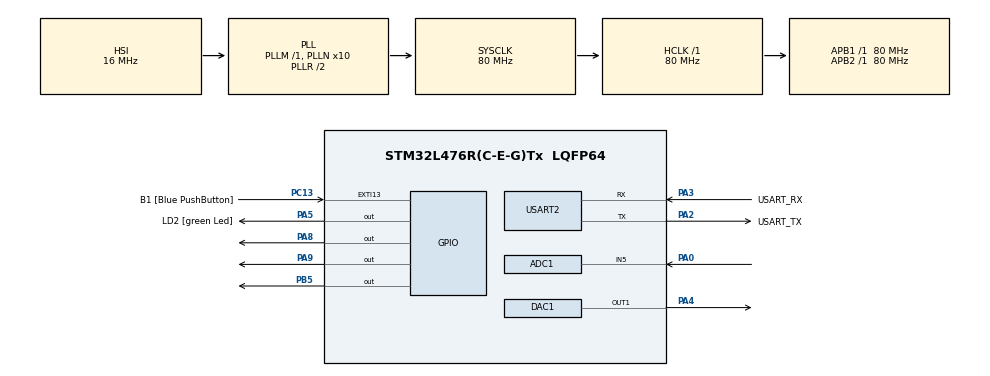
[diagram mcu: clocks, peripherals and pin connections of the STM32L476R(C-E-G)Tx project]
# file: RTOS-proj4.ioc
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ADC1.Channel-0\#ChannelRegularConversion=ADC_CHANNEL_5
ADC1.NbrOfConversionFlag=1
ADC1.OffsetNumber-0\#ChannelRegularConversion=ADC_OFFSET_NONE
ADC1.Rank-0\#ChannelRegularConversion=1
ADC1.SamplingTime-0\#ChannelRegularConversion=ADC_SAMPLETIME_2CYCLES_5
ADC1.master=1
DAC1.DAC_Trigger-DAC_OUT1=DAC_TRIGGER_T6_TRGO
Dma.ADC1.0.Direction=DMA_PERIPH_TO_MEMORY
Dma.ADC1.0.Instance=DMA1_Channel1
Dma.ADC1.0.MemDataAlignment=DMA_MDATAALIGN_HALFWORD
Dma.ADC1.0.MemInc=DMA_MINC_ENABLE
Dma.ADC1.0.Mode=DMA_CIRCULAR
Dma.ADC1.0.PeriphDataAlignment=DMA_PDATAALIGN_HALFWORD
Dma.ADC1.0.PeriphInc=DMA_PINC_DISABLE
Dma.ADC1.0.Priority=DMA_PRIORITY_LOW
Dma.DAC_CH1.1.Direction=DMA_MEMORY_TO_PERIPH
Dma.DAC_CH1.1.Instance=DMA1_Channel3
Dma.DAC_CH1.1.MemDataAlignment=DMA_MDATAALIGN_HALFWORD
Dma.DAC_CH1.1.MemInc=DMA_MINC_ENABLE
Dma.DAC_CH1.1.Mode=DMA_CIRCULAR
Dma.DAC_CH1.1.PeriphDataAlignment=DMA_PDATAALIGN_HALFWORD
Dma.DAC_CH1.1.PeriphInc=DMA_PINC_DISABLE
Dma.DAC_CH1.1.Priority=DMA_PRIORITY_LOW
Dma.Request0=ADC1
Dma.Request1=DAC_CH1
FREERTOS.Tasks01=defaultTask,24,128,StartDefaultTask,Default,NULL,Dynamic,NULL,NULL;CLI,8,1024,CLI_task,As weak,NULL,Dynamic,NULL,NULL
FREERTOS.configTOTAL_HEAP_SIZE=24000
Mcu.Family=STM32L4
Mcu.Name=STM32L476R(C-E-G)Tx
Mcu.Package=LQFP64
NVIC.ADC1_2_IRQn=true\:5\:0\:false\:false\:true\:true\:true\:true\:true
NVIC.DMA1_Channel1_IRQn=true\:5\:0\:false\:false\:true\:true\:false\:true\:true
NVIC.DMA1_Channel3_IRQn=true\:5\:0\:false\:false\:true\:true\:false\:true\:true
NVIC.PriorityGroup=NVIC_PRIORITYGROUP_4
NVIC.TIM1_BRK_TIM15_IRQn=true\:5\:0\:false\:false\:true\:true\:true\:true\:true
NVIC.USART2_IRQn=true\:5\:0\:false\:false\:true\:true\:true\:true\:true
PA0.Signal=ADCx_IN5
PA13\ (JTMS-SWDIO).GPIO_Label=TMS
PA13\ (JTMS-SWDIO).Mode=Serial_Wire
PA13\ (JTMS-SWDIO).Signal=SYS_JTMS-SWDIO
PA14\ (JTCK-SWCLK).GPIO_Label=TCK
PA14\ (JTCK-SWCLK).Mode=Serial_Wire
PA14\ (JTCK-SWCLK).Signal=SYS_JTCK-SWCLK
PA2.GPIO_Label=USART_TX
PA2.GPIO_Mode=GPIO_MODE_AF_PP
PA2.GPIO_PuPd=GPIO_NOPULL
PA2.GPIO_Speed=GPIO_SPEED_FREQ_VERY_HIGH
PA2.Mode=Asynchronous
PA2.Signal=USART2_TX
PA3.GPIO_Label=USART_RX
PA3.GPIO_Mode=GPIO_MODE_AF_PP
PA3.GPIO_PuPd=GPIO_NOPULL
PA3.GPIO_Speed=GPIO_SPEED_FREQ_VERY_HIGH
PA3.Mode=Asynchronous
PA3.Signal=USART2_RX
PA4.Signal=SharedAnalog_PA4
PA5.GPIO_Label=LD2 [green Led]
PA5.GPIO_ModeDefaultOutputPP=GPIO_MODE_OUTPUT_PP
PA5.GPIO_PuPd=GPIO_NOPULL
PA5.GPIO_Speed=GPIO_SPEED_FREQ_LOW
PA5.Signal=GPIO_Output
PA8.Signal=GPIO_Output
PA9.Signal=GPIO_Output
PB3\ (JTDO-TRACESWO).GPIO_Label=SWO
PB3\ (JTDO-TRACESWO).Signal=SYS_JTDO-SWO
PB5.Signal=GPIO_Output
PC13.GPIO_Label=B1 [Blue PushButton]
PC13.GPIO_ModeDefaultEXTI=GPIO_MODE_IT_FALLING
PC13.GPIO_PuPd=GPIO_NOPULL
PC13.Signal=GPXTI13
PC14-OSC32_IN\ (PC14).Mode=LSE-External-Oscillator
PC14-OSC32_IN\ (PC14).Signal=RCC_OSC32_IN
PC15-OSC32_OUT\ (PC15).Mode=LSE-External-Oscillator
PC15-OSC32_OUT\ (PC15).Signal=RCC_OSC32_OUT
PH0-OSC_IN\ (PH0).Signal=RCC_OSC_IN
PH1-OSC_OUT\ (PH1).Signal=RCC_OSC_OUT
ProjectManager.HeapSize=0x200
ProjectManager.StackSize=0x400
ProjectManager.TargetToolchain=STM32CubeIDE
RCC.ADCFreq_Value=64000000
RCC.AHBFreq_Value=80000000
RCC.APB1Freq_Value=80000000
RCC.APB1TimFreq_Value=80000000
RCC.APB2Freq_Value=80000000
RCC.APB2TimFreq_Value=80000000
RCC.CortexFreq_Value=80000000
RCC.HCLKFreq_Value=80000000
RCC.HSE_VALUE=8000000
RCC.HSI_VALUE=16000000
RCC.MSI_VALUE=4000000
RCC.PLLN=10
RCC.PLLSourceVirtual=RCC_PLLSOURCE_HSI
RCC.PREFETCH_ENABLE=1
RCC.SYSCLKFreq_VALUE=80000000
RCC.SYSCLKSource=RCC_SYSCLKSOURCE_PLLCLK
RCC.USBFreq_Value=64000000
RCC.VCOOutputFreq_Value=160000000
SH.ADCx_IN5.0=ADC1_IN5,IN5-Single-Ended
SH.SharedAnalog_PA4.0=GPIO_Analog
SH.SharedAnalog_PA4.1=DAC1_OUT1,DAC_OUT1
TIM15.AutoReloadPreload=TIM_AUTORELOAD_PRELOAD_ENABLE
TIM15.Period=249
TIM15.Prescaler=79
TIM2.AutoReloadPreload=TIM_AUTORELOAD_PRELOAD_ENABLE
TIM2.Period=4000
TIM6.AutoReloadPreload=TIM_AUTORELOAD_PRELOAD_ENABLE
TIM6.Period=49
TIM6.Prescaler=79
TIM6.TIM_MasterOutputTrigger=TIM_TRGO_UPDATE
USART2.VirtualMode-Asynchronous=VM_ASYNC
VP_FREERTOS_VS_CMSIS_V2.Mode=CMSIS_V2
VP_TIM15_VS_ClockSourceINT.Mode=Internal
VP_TIM2_VS_ClockSourceINT.Mode=Internal
VP_TIM2_VS_ClockSourceITR.Mode=TriggerSource_ITR0
VP_TIM2_VS_ControllerModeTrigger.Mode=Trigger Mode
VP_TIM6_VS_ClockSourceINT.Mode=Enable_Timer
board=NUCLEO-L476RG

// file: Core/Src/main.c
/* USER CODE BEGIN Header */
/**
  ******************************************************************************
  * @file           : main.c
  * @brief          : Main program body
  ******************************************************************************
  * @attention
  *
  * Copyright (c) 2025 STMicroelectronics.
  * All rights reserved.
  *
  * This software is licensed under terms that can be found in the LICENSE file
  * in the root directory of this software component.
  * If no LICENSE file comes with this software, it is provided AS-IS.
  *
  ******************************************************************************
  */
/* USER CODE END Header */
#include "main.h"
#include "cmsis_os.h"
#include "adc.h"
#include "dac.h"
#include "dma.h"
#include "tim.h"
#include "usart.h"
#include "gpio.h"
#include <stdio.h>
#include <string.h>
#include <stdlib.h>
#include "SigGen.h"
#include "7seg.h"

void SystemClock_Config(void);
void MX_FREERTOS_Init(void);
void uart_print(const char *s);

int main(void)
{

  /* MCU Configuration--------------------------------------------------------*/

  /* Reset of all peripherals, Initializes the Flash interface and the Systick. */
  HAL_Init();

  /* Configure the system clock */
  SystemClock_Config();

  /* Initialize all configured peripherals */
  MX_GPIO_Init();
  MX_DMA_Init();
  MX_USART2_UART_Init();
  MX_ADC1_Init();
  MX_DAC1_Init();
  MX_TIM2_Init();
  MX_TIM6_Init();
  MX_TIM15_Init();
  /* USER CODE BEGIN 2 */

  initSeg();
  multiplexSegment(1234);
  HAL_TIM_Base_Start_IT(&htim15);

  uart_print("Enter in form sine|square <100-9999>: ");

  SigGen_Init();

  /* USER CODE END 2 */

  /* Init scheduler */
  osKernelInitialize();  /* Call init function for freertos objects (in cmsis_os2.c) */
  MX_FREERTOS_Init();

  /* Start scheduler */
  osKernelStart();

  /* We should never get here as control is now taken by the scheduler */

  /* Infinite loop */
  while (1)
  {

  }
}

void uart_print(const char *s)
{
    HAL_UART_Transmit(&huart2, (uint8_t *)s, strlen(s), HAL_MAX_DELAY);
}

void SystemClock_Config(void)
{
  RCC_OscInitTypeDef RCC_OscInitStruct = {0};
  RCC_ClkInitTypeDef RCC_ClkInitStruct = {0};

  /** Configure the main internal regulator output voltage
  */
  if (HAL_PWREx_ControlVoltageScaling(PWR_REGULATOR_VOLTAGE_SCALE1) != HAL_OK)
  {
    Error_Handler();
  }

  /** Initializes the RCC Oscillators according to the specified parameters
  * in the RCC_OscInitTypeDef structure.
  */
  RCC_OscInitStruct.OscillatorType = RCC_OSCILLATORTYPE_HSI;
  RCC_OscInitStruct.HSIState = RCC_HSI_ON;
  RCC_OscInitStruct.HSICalibrationValue = RCC_HSICALIBRATION_DEFAULT;
  RCC_OscInitStruct.PLL.PLLState = RCC_PLL_ON;
  RCC_OscInitStruct.PLL.PLLSource = RCC_PLLSOURCE_HSI;
  RCC_OscInitStruct.PLL.PLLM = 1;
  RCC_OscInitStruct.PLL.PLLN = 10;
  RCC_OscInitStruct.PLL.PLLP = RCC_PLLP_DIV7;
  RCC_OscInitStruct.PLL.PLLQ = RCC_PLLQ_DIV2;
  RCC_OscInitStruct.PLL.PLLR = RCC_PLLR_DIV2;
  if (HAL_RCC_OscConfig(&RCC_OscInitStruct) != HAL_OK)
  {
    Error_Handler();
  }

  /** Initializes the CPU, AHB and APB buses clocks
  */
  RCC_ClkInitStruct.ClockType = RCC_CLOCKTYPE_HCLK|RCC_CLOCKTYPE_SYSCLK
                              |RCC_CLOCKTYPE_PCLK1|RCC_CLOCKTYPE_PCLK2;
  RCC_ClkInitStruct.SYSCLKSource = RCC_SYSCLKSOURCE_PLLCLK;
  RCC_ClkInitStruct.AHBCLKDivider = RCC_SYSCLK_DIV1;
  RCC_ClkInitStruct.APB1CLKDivider = RCC_HCLK_DIV1;
  RCC_ClkInitStruct.APB2CLKDivider = RCC_HCLK_DIV1;

  if (HAL_RCC_ClockConfig(&RCC_ClkInitStruct, FLASH_LATENCY_4) != HAL_OK)
  {
    Error_Handler();
  }
}

void Error_Handler(void)
{
  __disable_irq();
  while (1)
  {
  }
}

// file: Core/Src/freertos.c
/* USER CODE BEGIN Header */
/**
  ******************************************************************************
  * File Name          : freertos.c
  * Description        : Code for freertos applications
  ******************************************************************************
  * @attention
  *
  * Copyright (c) 2025 STMicroelectronics.
  * All rights reserved.
  *
  * This software is licensed under terms that can be found in the LICENSE file
  * in the root directory of this software component.
  * If no LICENSE file comes with this software, it is provided AS-IS.
  *
  ******************************************************************************
  */
/* USER CODE END Header */

#include "FreeRTOS.h"
#include "task.h"
#include "main.h"
#include "cmsis_os.h"
#include "usart.h"
#include <stdio.h>
#include <string.h>
#include <stdlib.h>
#include "SigGen.h"
#include "7seg.h"

/* Definitions for defaultTask */
osThreadId_t defaultTaskHandle;
const osThreadAttr_t defaultTask_attributes = {
  .name = "defaultTask",
  .stack_size = 128 * 4,
  .priority = (osPriority_t) osPriorityNormal,
};
/* Definitions for CLI */
osThreadId_t CLIHandle;
const osThreadAttr_t CLI_attributes = {
  .name = "CLI",
  .stack_size = 1024 * 4,
  .priority = (osPriority_t) osPriorityLow,
};

void StartDefaultTask(void *argument);
void CLI_task(void *argument);

void MX_FREERTOS_Init(void); /* (MISRA C 2004 rule 8.1) */

void MX_FREERTOS_Init(void) {

  /* Create the thread(s) */
  /* creation of defaultTask */
  defaultTaskHandle = osThreadNew(StartDefaultTask, NULL, &defaultTask_attributes);

  /* creation of CLI */
  CLIHandle = osThreadNew(CLI_task, NULL, &CLI_attributes);

}

void StartDefaultTask(void *argument)
{
  for(;;)
  {
    osDelay(1);
  }
}

__weak void CLI_task(void *argument)
{
  /* USER CODE BEGIN CLI_task */
  /* Infinite loop */

	for (;;)
	{
	    char rx;
	    static char cmd[32];        // command line buffer
	    static uint8_t idx = 0;     // current write index

	    // Receive 1 char with small timeout
	    if (HAL_UART_Receive(&huart2, (uint8_t *)&rx, 1, 10) == HAL_OK)
	    {
	        // echo back whatever we got
	        HAL_UART_Transmit(&huart2, (uint8_t *)&rx, 1, HAL_MAX_DELAY);

	        // ENTER pressed? (CR or LF)
	        if (rx == '\r' || rx == '\n')
	        {
	            uart_print("\r\n");

	            if (idx > 0)
	            {
	                cmd[idx] = '\0';  // null-terminate the command string

	                if (SigGen_ParseCommand(cmd))
	                {
	                    uart_print("OK\r\n");

	                }
	                else
	                {
	                    uart_print("ERR: use \"sine|square <100-9999>\"\r\n");
	                }
	            }

	            // reset buffer for next command
	            idx = 0;
	        }
	        else
	        {
	            // normal character → add to command buffer if space
	            if (idx < sizeof(cmd) - 1)
	            {
	                cmd[idx++] = rx;
	            }
	            else
	            {
	                // buffer full: warn and reset
	                uart_print("\r\nERR: command too long\r\n");
	                idx = 0;
	            }
	        }
	    }

	    vTaskDelay(1);   // let other tasks run
	}
  }
  /* USER CODE END CLI_task */
